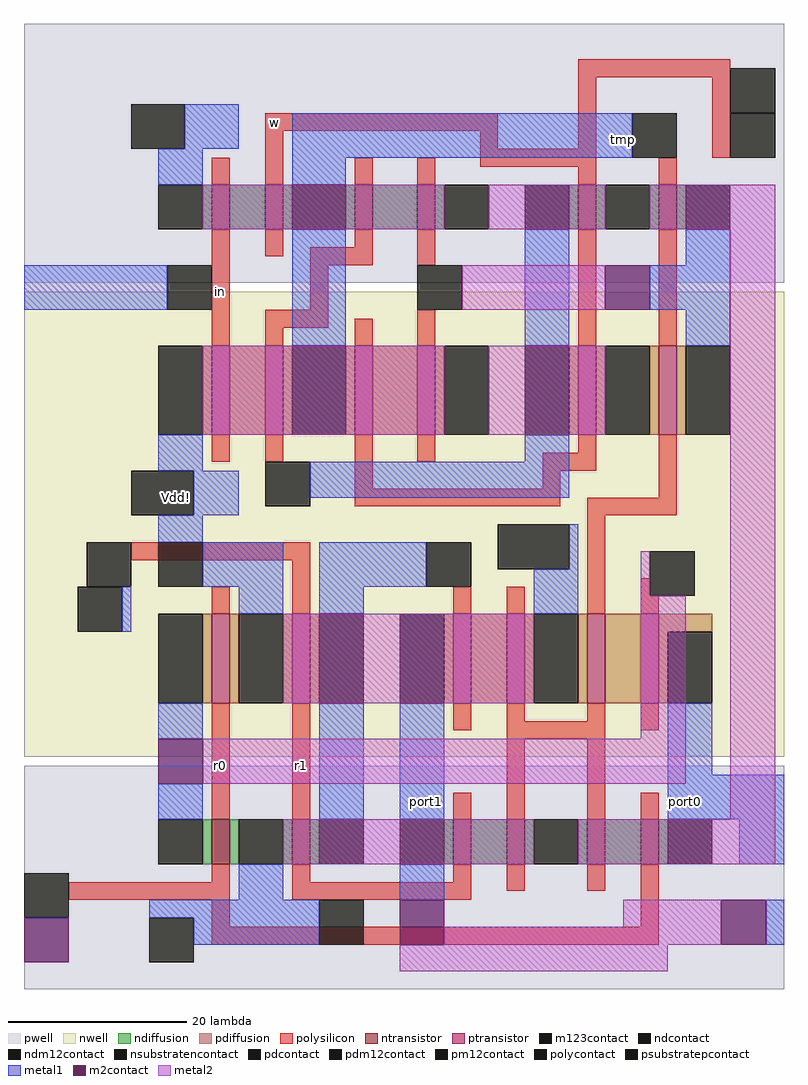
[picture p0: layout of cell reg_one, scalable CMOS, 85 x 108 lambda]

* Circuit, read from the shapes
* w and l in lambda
.subckt reg_one Vdd! in port0 port1 r0 r1 tmp w
M1 VSUBS r0 n1 VSUBS nfet w=5 l=2
M2 n2 in VSUBS VSUBS nfet w=5 l=2
M3 tmp w n2 VSUBS nfet w=5 l=2
M4 n3 r1 VSUBS VSUBS nfet w=5 l=2
M5 n4 n5 tmp VSUBS nfet w=5 l=2
M6 VSUBS n6 n4 VSUBS nfet w=5 l=2
M7 n7 r1 port1 VSUBS nfet w=5 l=2
M8 VSUBS tmp n7 VSUBS nfet w=5 l=2
M9 VSUBS w n5 VSUBS nfet w=5 l=2
M10 n8 tmp VSUBS VSUBS nfet w=5 l=2
M11 port0 r0 n8 VSUBS nfet w=5 l=2
M12 n6 tmp VSUBS VSUBS nfet w=5 l=2
M13 Vdd! r0 n1 Vdd! pfet w=10 l=2
M14 n9 in Vdd! Vdd! pfet w=10 l=2
M15 tmp n5 n9 Vdd! pfet w=10 l=2
M16 n3 r1 Vdd! Vdd! pfet w=10 l=2
M17 n10 w tmp Vdd! pfet w=10 l=2
M18 Vdd! n6 n10 Vdd! pfet w=10 l=2
M19 n11 n3 port1 Vdd! pfet w=10 l=2
M20 Vdd! tmp n11 Vdd! pfet w=10 l=2
M21 Vdd! w n5 Vdd! pfet w=10 l=2
M22 n12 tmp Vdd! Vdd! pfet w=10 l=2
M23 port0 n1 n12 Vdd! pfet w=10 l=2
M24 n6 tmp Vdd! Vdd! pfet w=10 l=2
.ends

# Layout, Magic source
magic
tech scmos
<< nwell >>
rect -11 -1 74 51
<< pwell >>
rect -11 52 74 81
rect -11 -27 74 -2
<< ntransistor >>
rect 10 58 12 63
rect 16 58 18 63
rect 26 58 28 63
rect 33 58 35 63
rect 51 58 53 63
rect 60 58 62 63
rect 10 -13 12 -8
rect 19 -13 21 -8
rect 37 -13 39 -8
rect 43 -13 45 -8
rect 52 -13 54 -8
rect 58 -13 60 -8
<< ptransistor >>
rect 10 35 12 45
rect 16 35 18 45
rect 26 35 28 45
rect 33 35 35 45
rect 51 35 53 45
rect 60 35 62 45
rect 10 5 12 15
rect 19 5 21 15
rect 37 5 39 15
rect 43 5 45 15
rect 52 5 54 15
rect 58 5 60 15
<< ndiffusion >>
rect 9 58 10 63
rect 12 58 16 63
rect 18 58 19 63
rect 25 58 26 63
rect 28 58 33 63
rect 35 58 36 63
rect 50 58 51 63
rect 53 58 54 63
rect 59 58 60 63
rect 62 58 63 63
rect 9 -13 10 -8
rect 12 -13 13 -8
rect 18 -13 19 -8
rect 21 -13 22 -8
rect 36 -13 37 -8
rect 39 -13 43 -8
rect 45 -13 46 -8
rect 51 -13 52 -8
rect 54 -13 58 -8
rect 60 -13 61 -8
<< pdiffusion >>
rect 9 35 10 45
rect 12 35 16 45
rect 18 35 19 45
rect 25 35 26 45
rect 28 35 33 45
rect 35 35 36 45
rect 50 35 51 45
rect 53 35 54 45
rect 59 35 60 45
rect 62 35 63 45
rect 9 5 10 15
rect 12 5 13 15
rect 18 5 19 15
rect 21 5 22 15
rect 36 5 37 15
rect 39 5 43 15
rect 45 5 46 15
rect 51 5 52 15
rect 54 5 58 15
rect 60 13 66 15
rect 60 5 61 13
<< ndcontact >>
rect 19 58 25 63
rect 45 58 50 63
rect 63 58 68 63
rect 4 -13 9 -8
rect 22 -13 27 -8
rect 31 -13 36 -8
rect 61 -13 66 -8
<< pdcontact >>
rect 19 35 25 45
rect 45 35 50 45
rect 63 35 68 45
rect 4 5 9 15
rect 22 5 27 15
rect 31 5 36 15
rect 61 5 66 13
<< psubstratepcontact >>
rect 1 67 7 72
rect 3 -24 8 -19
<< nsubstratencontact >>
rect 1 26 8 31
rect 42 20 50 25
<< polysilicon >>
rect 51 75 68 77
rect 16 69 42 71
rect 10 63 12 66
rect 16 63 18 69
rect 40 67 42 69
rect 51 67 53 75
rect 26 63 28 66
rect 33 63 35 66
rect 40 65 53 67
rect 66 66 68 75
rect 51 63 53 65
rect 60 63 62 66
rect 10 45 12 58
rect 16 55 18 58
rect 26 56 28 58
rect 21 54 28 56
rect 33 54 35 58
rect 21 49 23 54
rect 16 47 23 49
rect 16 45 18 47
rect 26 45 28 48
rect 33 45 35 49
rect 51 45 53 58
rect 60 45 62 58
rect 10 32 12 35
rect 16 32 18 35
rect 26 29 28 35
rect 33 32 35 35
rect 51 33 53 35
rect 47 31 53 33
rect 47 29 49 31
rect 26 27 49 29
rect 60 28 62 35
rect 52 26 62 28
rect 1 21 21 23
rect 10 15 12 18
rect 19 15 21 21
rect 37 15 39 18
rect 43 15 45 18
rect 52 15 54 26
rect 58 17 59 19
rect 58 15 60 17
rect 10 -8 12 5
rect 19 -8 21 5
rect 37 2 39 5
rect 43 3 45 5
rect 52 3 54 5
rect 43 1 54 3
rect 58 2 60 5
rect 37 -8 39 -5
rect 43 -8 45 1
rect 52 -8 54 1
rect 58 -8 60 -5
rect 10 -15 12 -13
rect -6 -17 12 -15
rect 19 -15 21 -13
rect 37 -15 39 -13
rect 19 -17 39 -15
rect 43 -16 45 -13
rect 52 -16 54 -13
rect 10 -20 12 -17
rect 58 -20 60 -13
rect 10 -22 60 -20
<< polycontact >>
rect 57 66 62 71
rect 68 66 73 71
rect 5 49 10 54
rect 16 27 21 32
rect -4 18 1 23
rect 34 18 39 23
rect -11 -19 -6 -14
<< metal1 >>
rect 7 67 13 72
rect 4 63 9 67
rect 19 66 57 71
rect 19 63 25 66
rect -11 49 5 54
rect 19 45 25 58
rect 45 45 50 58
rect 63 54 68 58
rect 59 49 68 54
rect 63 45 68 49
rect 4 31 9 35
rect 45 32 50 35
rect 8 26 13 31
rect 21 28 50 32
rect 4 23 9 26
rect 9 18 18 23
rect 0 13 1 18
rect 13 15 18 18
rect 22 18 34 23
rect 50 20 51 25
rect 22 15 27 18
rect 46 15 51 20
rect 4 1 9 5
rect 4 -8 9 -4
rect 22 -8 27 5
rect 31 -8 36 5
rect 61 -3 66 5
rect 61 -8 74 -3
rect 69 -13 74 -8
rect 13 -17 18 -13
rect 31 -17 36 -13
rect 3 -19 22 -17
rect 8 -22 22 -19
rect 72 -22 74 -17
<< m2contact >>
rect 54 49 59 54
rect 4 -4 9 1
rect -11 -24 -6 -19
rect 31 -22 36 -17
rect 67 -22 72 -17
<< pm12contact >>
rect 33 49 38 54
rect 59 17 64 22
<< pdm12contact >>
rect 4 35 9 45
rect 36 35 41 45
rect 54 35 59 45
rect 13 5 18 15
rect 46 5 51 15
<< ndm12contact >>
rect 4 58 9 63
rect 36 58 41 63
rect 54 58 59 63
rect 13 -13 18 -8
rect 46 -13 51 -8
<< metal2 >>
rect 9 58 36 63
rect 41 58 54 63
rect 59 58 73 63
rect 38 49 54 54
rect 9 35 36 45
rect 41 35 54 45
rect 58 17 59 22
rect 18 5 46 15
rect 58 1 63 17
rect 9 -4 63 1
rect 68 -8 73 58
rect 18 -13 46 -8
rect 51 -13 73 -8
rect 56 -20 67 -17
rect 36 -22 67 -20
rect 31 -25 61 -22
<< m123contact >>
rect 68 71 73 76
rect 4 18 9 23
rect -5 13 0 18
rect 22 -22 27 -17
<< labels >>
rlabel polysilicon 11 51 11 51 5 in
rlabel polysilicon 11 -2 11 -2 1 r0
rlabel polysilicon 20 -2 20 -2 1 r1
rlabel polysilicon 17 70 17 70 5 w
rlabel nsubstratencontact 6 28 6 28 1 Vdd!
rlabel metal1 63 -6 63 -6 1 port0
rlabel metal1 34 -6 34 -6 1 port1
rlabel metal1 56 68 56 68 1 tmp
<< end >>
